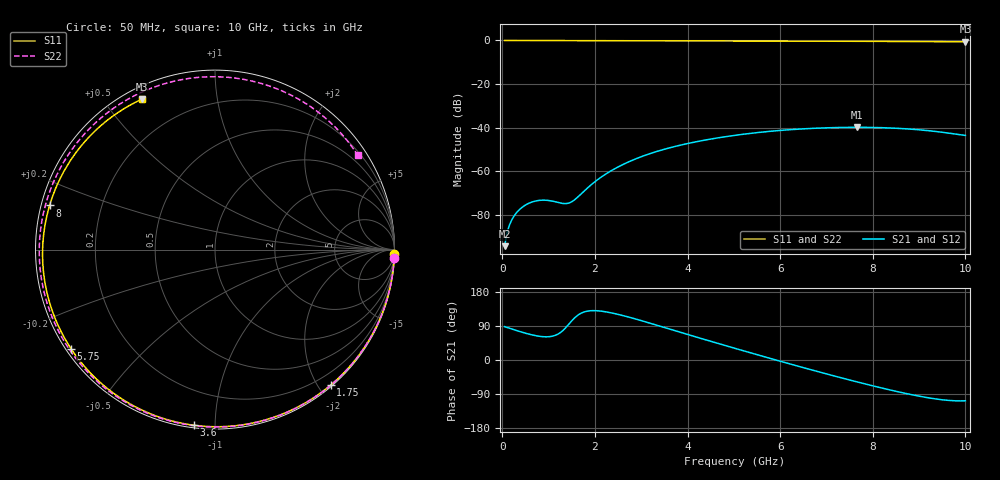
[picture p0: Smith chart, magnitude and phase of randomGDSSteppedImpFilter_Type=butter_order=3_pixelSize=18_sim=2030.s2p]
! freq	dB(S11)	phase(S11)	dB(S12)	phase(S12)
!  dB(S21)	phase(S21)	dB(S22)	phase(S22)
!S-par simulation data
#  GHz  S  DB  R 50
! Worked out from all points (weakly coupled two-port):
!   200 points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, 50 MHz to 10 GHz, reference 50 ohm
!   highest |S21| = -39.86 dB at 7.65 GHz (marker M1); lowest = -94.4 dB at 50 MHz (marker M2)
!   lowest |S11| = -0.6 dB at 10 GHz (marker M3), VSWR 28.31, Z = 2.45 + j31.2 ohm
!   |S11| at or under -10 dB: nowhere
!   |S22| runs from -0.4 to 0.0 dB; largest |S21 - S12| = 0
!   S11 on the Smith chart (normalised r, x): 50 MHz: 0, -78; 1.75 GHz: 0.02, -2.17; 3.6 GHz: 0.01, -0.89; 5.75 GHz: 0.01, -0.31; 8 GHz: 0.02, +0.13; 10 GHz: 0.05, +0.62
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0.05  -0.00 -1.5  -94.39 88.0  -94.39 88.0  -0.00 -2.7
0.25  -0.01 -7.3  -80.68 80.0  -80.68 80.0  -0.02 -13.5
0.45  -0.02 -13.0  -76.21 72.5  -76.21 72.5  -0.03 -24.0
0.6  -0.02 -17.3  -74.46 67.5  -74.46 67.5  -0.04 -31.9
0.95  -0.03 -27.3  -73.33 61.2  -73.33 61.2  -0.06 -49.6
1.4  -0.05 -39.9  -74.80 89.3  -74.80 89.3  -0.08 -70.9
1.55  -0.06 -44.1  -73.29 109.7  -73.29 109.7  -0.09 -77.5
1.75  -0.06 -49.6  -69.46 126.0  -69.46 126.0  -0.10 -86.1
2.1  -0.07 -59.0  -63.22 129.4  -63.22 129.4  -0.11 -100.3
2.45  -0.09 -68.2  -58.61 121.8  -58.61 121.8  -0.12 -113.5
2.9  -0.10 -79.6  -54.17 107.5  -54.17 107.5  -0.13 -129.0
3.4  -0.12 -92.0  -50.52 89.4  -50.52 89.4  -0.14 -144.9
3.6  -0.12 -96.8  -49.34 82.1  -49.34 82.1  -0.15 -150.9
4.3  -0.15 -113.2  -46.01 56.6  -46.01 56.6  -0.17 -170.8
5.05  -0.19 -130.1  -43.46 29.8  -43.46 29.8  -0.20 169.2
5.75  -0.23 -145.5  -41.76 5.4  -41.76 5.4  -0.23 151.1
6.7  -0.30 -166.1  -40.34 -26.8  -40.34 -26.8  -0.27 126.6
7.65  -0.38 173.0  -39.86 -57.5  -39.86 -57.5  -0.31 101.3
8  -0.41 165.1  -39.92 -68.2  -39.92 -68.2  -0.32 91.6
8.35  -0.44 157.0  -40.14 -78.4  -40.14 -78.4  -0.34 81.8
9.15  -0.53 137.8  -41.29 -98.7  -41.29 -98.7  -0.37 58.7
10  -0.61 116.0  -43.59 -107.6  -43.59 -107.6  -0.42 33.4
